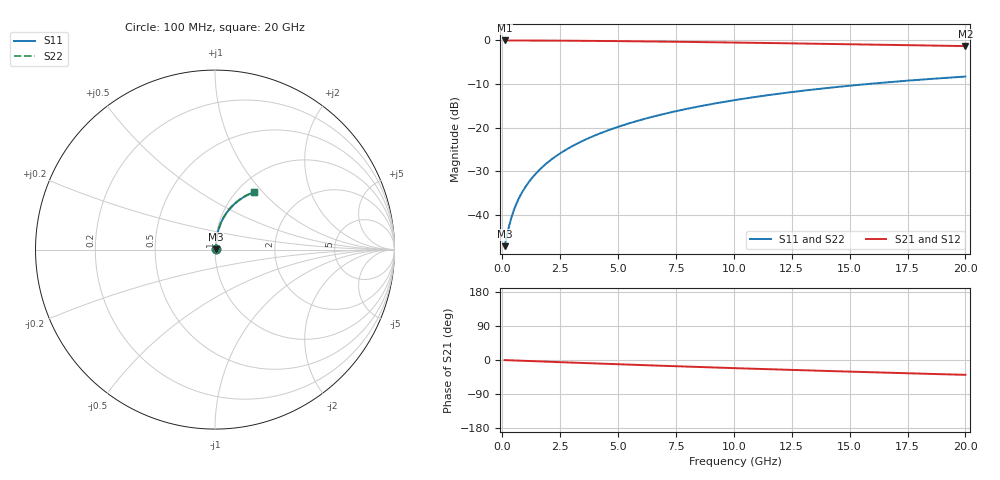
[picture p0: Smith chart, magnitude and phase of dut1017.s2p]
! Touchstone file exported from HFSS 2024.1.0
!  File:  C:/UserFiles/LocalFiles/RDL_TSV_Batchsim/temp_RDL_bottom_1017_1780050595.aedt
!  Generated:  06:32:30 PM May 29, 2026
!  Design:  RDL_bottom
!  Project:  temp_RDL_bottom_1017_1780050595
!  Setup:  Setup1
!  Solution:  Sweep
! Variables:
!  dtsv = 10.80580581um
!  hbump = 3um
!  htsv = 63.89um
!  ldown = 547.49um
!  lrdl = 100um
!  p = 40
!  p1 = 43.88um
!  rhole = 1um
!  t = 450um
!  tdown = 3.01um
!  trdl = 3.915915916um
!  wdown = 17.61um
!  wrdl = 20um
# GHz S MA R 50.000000
! Terminal data exported
! Port[1] = RDL1_T1
! Port[2] = RDL1_T2
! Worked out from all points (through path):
!   200 points, 100 MHz to 20 GHz, reference 50 ohm
!   highest |S21| = -0.03 dB at 100 MHz (marker M1); lowest = -1.3 dB at 20 GHz (marker M2)
!   group delay of S21, straight-line fit = 5.42 ps
!   lowest |S11| = -47.1 dB at 100 MHz (marker M3), VSWR 1.01, Z = 50.4 + j0.221 ohm
!   |S11| at or under -10 dB: start of sweep to 15.79 GHz
!   |S22| runs from -47.1 to -8.3 dB; largest |S21 - S12| = 3.2e-15
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0.1  0.004411 29.8  0.9962 -0.2  0.9962 -0.2  0.004411 29.8
! Gamma 0 0 0 0
! Port Impedance 50 0 50 0
0.3  0.00763 57.7  0.9959 -0.7  0.9959 -0.7  0.00763 57.7
0.4  0.009497 63.5  0.9957 -0.9  0.9957 -0.9  0.009497 63.5
0.5  0.0114 67.3  0.9955 -1.2  0.9955 -1.2  0.0114 67.3
0.6  0.01331 70.1  0.9954 -1.4  0.9954 -1.4  0.01331 70.1
0.8  0.01716 73.8  0.995 -1.9  0.995 -1.9  0.01716 73.8
1.1  0.02299 77.0  0.9945 -2.5  0.9945 -2.5  0.02299 77.0
1.3  0.02692 78.4  0.9941 -3.0  0.9941 -3.0  0.02692 78.4
1.6  0.03285 79.8  0.9935 -3.7  0.9935 -3.7  0.03285 79.8
2.1  0.04284 81.0  0.9921 -4.8  0.9921 -4.8  0.04284 81.0
2.7  0.05496 81.6  0.9902 -6.2  0.9902 -6.2  0.05496 81.6
3.5  0.07128 81.6  0.9869 -7.9  0.9869 -7.9  0.07128 81.7
4.2  0.08569 81.3  0.9836 -9.5  0.9836 -9.5  0.0857 81.3
5  0.1023 80.6  0.9792 -11.2  0.9792 -11.2  0.1023 80.6
5.9  0.1211 79.5  0.9737 -13.1  0.9737 -13.1  0.1211 79.5
6.8  0.1399 78.3  0.9677 -15.0  0.9677 -15.0  0.1399 78.3
8.4  0.1733 75.9  0.956 -18.3  0.956 -18.3  0.1733 75.9
10.1  0.2082 73.0  0.9428 -21.6  0.9428 -21.6  0.2082 73.1
11.7  0.2401 70.3  0.9297 -24.7  0.9297 -24.7  0.2402 70.3
13.4  0.2728 67.3  0.9154 -27.8  0.9154 -27.8  0.2729 67.3
16.7  0.3319 61.5  0.887 -33.7  0.887 -33.7  0.332 61.6
20  0.3847 56.0  0.8585 -39.2  0.8585 -39.2  0.3848 56.1
